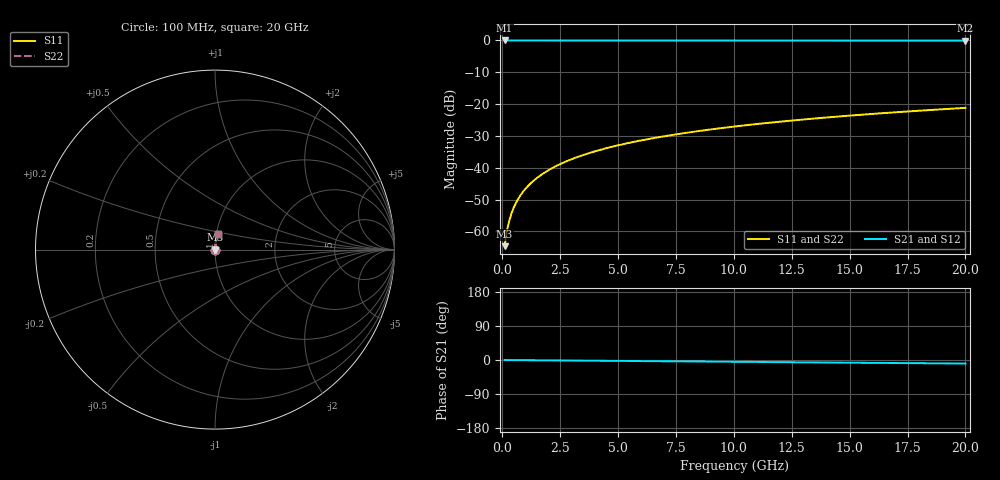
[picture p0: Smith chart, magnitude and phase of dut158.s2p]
! Touchstone file exported from HFSS 2026.1.0
!  File:  C:/ffzhzh/LocalFiles/Ansys_Project_Files/temp_train_TSV_158_1782990792_45328.aedt
!  Generated:  07:15:01 PM Jul  2, 2026
!  Design:  TSV
!  Project:  temp_train_TSV_158_1782990792_45328
! Variables:
!  h_bsmrdl = 2um
!  h_ox = 20um
!  h_rdl = 5um
!  h_sub = 73.94um
!  h_tmrdl = 5um
!  h_tsv = 73.94um
!  h_via = 3um
!  l_bsmrdl = 300um
!  l_sub = 410.5um
!  l_tmrdl = 200um
!  m_sub = 200um
!  pitch = 51.71um
!  r_tsv = 5.25um
!  s_tmrdl = 10um
!  w_bsmrdl = 18um
!  w_sub = 500um
!  w_tmrdl = 12um
!  x_tsv_center1 = 206um
!  x_tsv_center2 = 524um
!  x_tsv_center3 = 736um
!  x_tsv_center4 = 1054um
!  x_tsv_center5 = 1266um
!  x_tsv_center6 = 1584um
# GHz S MA R 50.000000
! Terminal data exported
! Port[1] = TSV1_1_T1
! Port[2] = TSV1_1_T2
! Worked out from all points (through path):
!   200 points, 100 MHz to 20 GHz, reference 50 ohm
!   highest |S21| = 0.00 dB at 100 MHz (marker M1); lowest = 0.0 dB at 20 GHz (marker M2)
!   group delay of S21, straight-line fit = 1.3 ps
!   lowest |S11| = -64.6 dB at 100 MHz (marker M3), VSWR 1.00, Z = 50 + j0.0478 ohm
!   |S11| at or under -10 dB: start of sweep to end of sweep
!   |S22| runs from -64.6 to -21.2 dB; largest |S21 - S12| = 5.3e-15
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0.1  0.0005862 54.6  0.9997 -0.0  0.9997 -0.0  0.0005862 54.6
! Gamma 0 0 0 0
! Port Impedance 50 0 50 0
0.2  0.001016 69.9  0.9997 -0.1  0.9997 -0.1  0.001016 69.9
0.3  0.001473 75.7  0.9996 -0.1  0.9996 -0.1  0.001473 75.7
0.4  0.001934 78.6  0.9996 -0.2  0.9996 -0.2  0.001934 78.6
0.5  0.002394 80.3  0.9996 -0.2  0.9996 -0.2  0.002394 80.3
0.7  0.00331 82.3  0.9996 -0.3  0.9996 -0.3  0.00331 82.3
0.8  0.003766 82.9  0.9996 -0.4  0.9996 -0.4  0.003766 82.9
1  0.004673 83.7  0.9995 -0.5  0.9995 -0.5  0.004673 83.7
1.2  0.005577 84.3  0.9995 -0.6  0.9995 -0.6  0.005577 84.3
1.4  0.00648 84.7  0.9995 -0.7  0.9995 -0.7  0.00648 84.7
1.7  0.007832 85.1  0.9994 -0.8  0.9994 -0.8  0.007832 85.1
2  0.009182 85.3  0.9994 -1.0  0.9994 -1.0  0.009182 85.3
2.7  0.01232 85.6  0.9992 -1.3  0.9992 -1.3  0.01232 85.6
3.5  0.01589 85.5  0.9991 -1.7  0.9991 -1.7  0.01589 85.5
4.2  0.01899 85.4  0.999 -2.0  0.999 -2.0  0.01899 85.4
5  0.02252 85.2  0.9988 -2.4  0.9988 -2.4  0.02252 85.2
6.8  0.0304 84.7  0.9984 -3.2  0.9984 -3.2  0.0304 84.7
8.3  0.03694 84.2  0.9981 -3.9  0.9981 -3.9  0.03694 84.2
10.1  0.04476 83.5  0.9976 -4.8  0.9976 -4.8  0.04476 83.5
13.4  0.05904 82.2  0.9967 -6.3  0.9967 -6.3  0.05904 82.2
16.7  0.07321 80.8  0.9956 -7.8  0.9956 -7.8  0.07321 80.8
20  0.08725 79.4  0.9943 -9.4  0.9943 -9.4  0.08725 79.4
